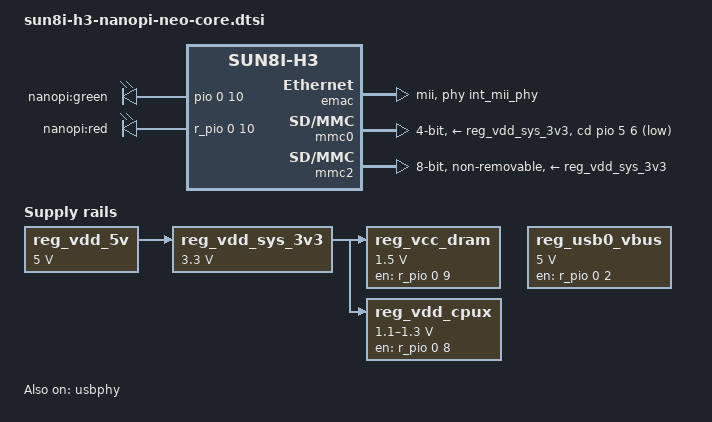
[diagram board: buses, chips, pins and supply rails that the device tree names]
/*
 * Copyright (C) 2018 Mans Rullgard <mans@mansr.com>
 *
 * This file is dual-licensed: you can use it either under the terms
 * of the GPL or the X11 license, at your option. Note that this dual
 * licensing only applies to this file, and not this project as a
 * whole.
 *
 *  a) This file is free software; you can redistribute it and/or
 *     modify it under the terms of the GNU General Public License as
 *     published by the Free Software Foundation; either version 2 of the
 *     License, or (at your option) any later version.
 *
 *     This file is distributed in the hope that it will be useful,
 *     but WITHOUT ANY WARRANTY; without even the implied warranty of
 *     MERCHANTABILITY or FITNESS FOR A PARTICULAR PURPOSE.  See the
 *     GNU General Public License for more details.
 *
 * Or, alternatively,
 *
 *  b) Permission is hereby granted, free of charge, to any person
 *     obtaining a copy of this software and associated documentation
 *     files (the "Software"), to deal in the Software without
 *     restriction, including without limitation the rights to use,
 *     copy, modify, merge, publish, distribute, sublicense, and/or
 *     sell copies of the Software, and to permit persons to whom the
 *     Software is furnished to do so, subject to the following
 *     conditions:
 *
 *     The above copyright notice and this permission notice shall be
 *     included in all copies or substantial portions of the Software.
 *
 *     THE SOFTWARE IS PROVIDED "AS IS", WITHOUT WARRANTY OF ANY KIND,
 *     EXPRESS OR IMPLIED, INCLUDING BUT NOT LIMITED TO THE WARRANTIES
 *     OF MERCHANTABILITY, FITNESS FOR A PARTICULAR PURPOSE AND
 *     NONINFRINGEMENT. IN NO EVENT SHALL THE AUTHORS OR COPYRIGHT
 *     HOLDERS BE LIABLE FOR ANY CLAIM, DAMAGES OR OTHER LIABILITY,
 *     WHETHER IN AN ACTION OF CONTRACT, TORT OR OTHERWISE, ARISING
 *     FROM, OUT OF OR IN CONNECTION WITH THE SOFTWARE OR THE USE OR
 *     OTHER DEALINGS IN THE SOFTWARE.
 */

/dts-v1/;
#include "sun8i-h3.dtsi"

#include <dt-bindings/gpio/gpio.h>

/ {
	aliases {
		mmc0 = &mmc0;
		mmc1 = &mmc2;
	};

	leds {
		compatible = "gpio-leds";

		led-green {
			label = "nanopi:green";
			gpios = <&pio 0 10 GPIO_ACTIVE_HIGH>; /* PA10 */
			linux,default-trigger = "heartbeat";
		};

		led-red {
			label = "nanopi:red";
			gpios = <&r_pio 0 10 GPIO_ACTIVE_HIGH>; /* PL10 */
			default-state = "on";
		};
	};

	reg_vdd_5v: regulator-vdd-5v {
		compatible = "regulator-fixed";
		regulator-name = "vdd-5v";
		regulator-min-microvolt = <5000000>;
		regulator-max-microvolt = <5000000>;
	};

	reg_vdd_sys_3v3: regulator-vdd-sys-3v3 {
		compatible = "regulator-fixed";
		regulator-name = "vdd-sys-3v3";
		regulator-min-microvolt = <3300000>;
		regulator-max-microvolt = <3300000>;
		vin-supply = <&reg_vdd_5v>;
	};

	reg_vcc_dram: regulator-vcc-dram {
		compatible = "regulator-fixed";
		regulator-name = "vdd-vcc-dram";
		regulator-min-microvolt = <1500000>;
		regulator-max-microvolt = <1500000>;
		regulator-boot-on;
		regulator-always-on;
		gpio = <&r_pio 0 9 GPIO_ACTIVE_HIGH>; /* PL9 */
		enable-active-high;
		vin-supply = <&reg_vdd_sys_3v3>;
	};

	reg_vdd_cpux: regulator-cpux {
		compatible = "regulator-gpio";
		regulator-name = "vdd-cpux";
		regulator-boot-on;
		regulator-always-on;
		regulator-min-microvolt = <1100000>;
		regulator-max-microvolt = <1300000>;
		regulator-ramp-delay = <50>; /* 4ms */
		vin-supply = <&reg_vdd_sys_3v3>;
		enable-gpios = <&r_pio 0 8 GPIO_ACTIVE_HIGH>; /* PL8 */
		enable-active-high;
		gpios = <&r_pio 0 6 GPIO_ACTIVE_HIGH>; /* PL6 */
		gpios-states = <0x1>;
		states = <1100000 0x0>,
			 <1300000 0x1>;
	};

	reg_usb0_vbus: usb0-vbus {
		compatible = "regulator-fixed";
		regulator-name = "usb0-vbus";
		regulator-min-microvolt = <5000000>;
		regulator-max-microvolt = <5000000>;
		gpio = <&r_pio 0 2 GPIO_ACTIVE_HIGH>; /* PL2 */
		enable-active-high;
	};
};

&cpu0 {
	cpu-supply = <&reg_vdd_cpux>;
};

&emac {
	phy-handle = <&int_mii_phy>;
	phy-mode = "mii";
};

&mmc0 {
	vmmc-supply = <&reg_vdd_sys_3v3>;
	bus-width = <4>;
	cd-gpios = <&pio 5 6 GPIO_ACTIVE_LOW>;
	status = "okay";
};

&mmc2 {
	pinctrl-names = "default";
	pinctrl-0 = <&mmc2_8bit_pins>;
	vmmc-supply = <&reg_vdd_sys_3v3>;
	bus-width = <8>;
	non-removable;
	status = "okay";
};

&pio {
	vcc-pa-supply = <&reg_vdd_sys_3v3>;
	vcc-pc-supply = <&reg_vdd_sys_3v3>;
	vcc-pe-supply = <&reg_vdd_sys_3v3>;
	vcc-pf-supply = <&reg_vdd_sys_3v3>;
	vcc-pg-supply = <&reg_vdd_sys_3v3>;
};

&r_pio {
	vcc-pl-supply = <&reg_vdd_sys_3v3>;
};

&usbphy {
	usb0_id_det-gpios = <&pio 6 12 GPIO_ACTIVE_HIGH>; /* PG12 */
	usb0_vbus-supply = <&reg_usb0_vbus>;
	status = "okay";
};
